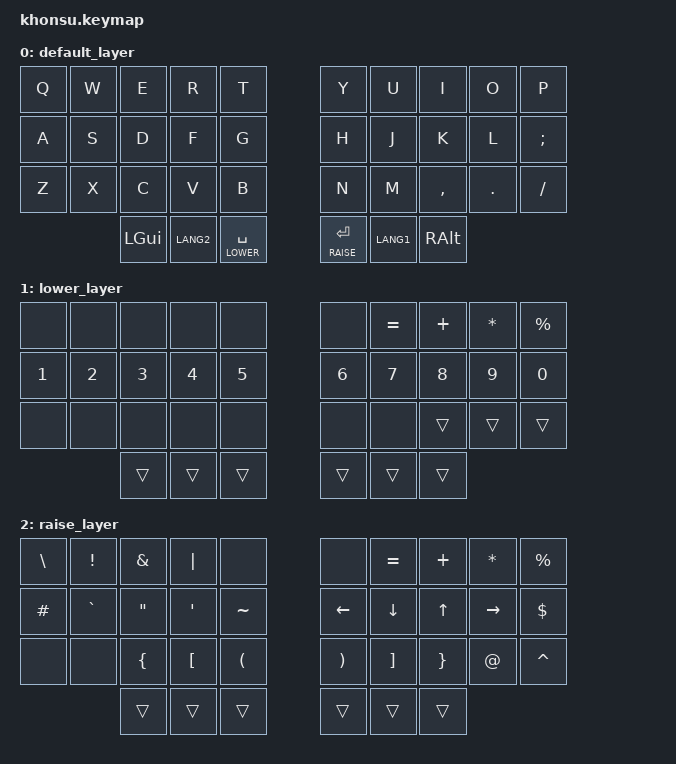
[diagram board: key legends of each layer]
/*
 * Copyright (c) 2021 The ZMK Contributors
 *
 * SPDX-License-Identifier: MIT
 */

#include <behaviors.dtsi>
#include <dt-bindings/zmk/keys.h>
#include <dt-bindings/zmk/bt.h>
#include <dt-bindings/zmk/outputs.h>

#define LOWER 1
#define RAISE 2

#define L_SPC &lt LOWER SPACE
#define R_RET &lt RAISE RET

/ {
    keymap {
        compatible = "zmk,keymap";

        default_layer {
            bindings = <
&kp Q     &kp W     &kp E     &kp R     &kp T            &kp Y     &kp U     &kp I     &kp O    &kp P   
&kp A     &kp S     &kp D     &kp F     &kp G            &kp H     &kp J     &kp K     &kp L    &kp SEMI
&kp Z     &kp X     &kp C     &kp V     &kp B            &kp N     &kp M     &kp COMMA &kp DOT  &kp FSLH
                 &kp LGUI  &kp LANG2    L_SPC            R_RET     &kp LANG1 &kp RALT
            >;
        };
        lower_layer {
            bindings = <
&none     &none     &none     &none     &none            &none     &kp EQUAL &kp PLUS  &kp STAR &kp PRCNT
&kp N1    &kp N2    &kp N3    &kp N4    &kp N5           &kp N6    &kp N7    &kp N8    &kp N9   &kp N0   
&none     &none     &none     &none     &none            &none     &none     &trans    &trans   &trans   
                    &trans    &trans    &trans           &trans    &trans    &trans
            >;
        };
        raise_layer {
            bindings = <
&kp BSLH  &kp EXCL  &kp AMPS  &kp PIPE  &none            &none     &kp EQUAL &kp PLUS  &kp STAR &kp PRCNT 
&kp HASH  &kp GRAVE &kp DQT   &kp SQT   &kp TILDE        &kp LEFT  &kp DOWN  &kp UP    &kp RIGHT &kp DLLR 
&none     &none     &kp LBRC  &kp LBKT  &kp LPAR         &kp RPAR  &kp RBKT  &kp RBRC  &kp AT    &kp CARET
                    &trans    &trans    &trans           &trans    &trans    &trans
            >;
        };
    };
};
